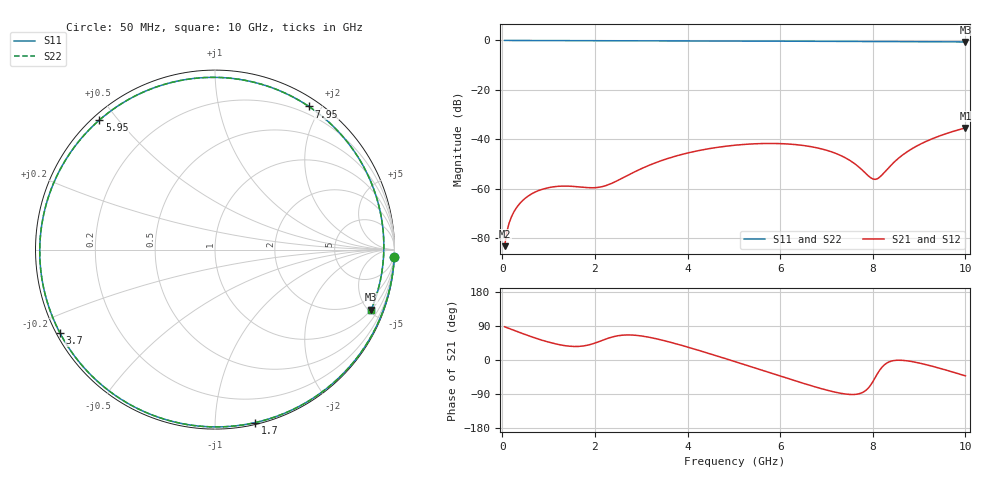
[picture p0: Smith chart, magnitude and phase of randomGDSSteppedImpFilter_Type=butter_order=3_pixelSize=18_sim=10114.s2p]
! freq	dB(S11)	phase(S11)	dB(S12)	phase(S12)
!  dB(S21)	phase(S21)	dB(S22)	phase(S22)
!S-par simulation data
#  GHz  S  DB  R 50
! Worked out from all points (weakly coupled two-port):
!   200 points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, 50 MHz to 10 GHz, reference 50 ohm
!   highest |S21| = -35.35 dB at 10 GHz (marker M1); lowest = -83.1 dB at 50 MHz (marker M2)
!   lowest |S11| = -0.6 dB at 10 GHz (marker M3), VSWR 28.75, Z = 50.3 - j260 ohm
!   |S11| at or under -10 dB: nowhere
!   |S22| runs from -0.6 to 0.0 dB; largest |S21 - S12| = 0
!   S11 on the Smith chart (normalised r, x): 50 MHz: 0, -48; 1.7 GHz: 0.01, -1.26; 3.7 GHz: 0.01, -0.25; 5.95 GHz: 0.02, +0.45; 7.95 GHz: 0.10, +1.85; 10 GHz: 1.01, -5.19
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0.05  -0.00 -2.4  -83.11 87.7  -83.11 87.7  -0.00 -2.4
0.15  -0.01 -7.2  -73.62 83.0  -73.62 83.0  -0.01 -7.2
0.25  -0.02 -11.9  -69.27 78.3  -69.27 78.3  -0.02 -11.9
0.55  -0.04 -25.9  -62.99 64.8  -62.99 64.8  -0.04 -25.9
1.05  -0.06 -48.8  -59.29 45.6  -59.29 45.6  -0.06 -48.8
1.7  -0.09 -76.9  -59.24 36.3  -59.24 36.3  -0.09 -76.9
1.75  -0.09 -79.0  -59.33 37.0  -59.33 37.0  -0.09 -79.0
2.15  -0.11 -95.1  -59.08 51.4  -59.08 51.4  -0.11 -95.1
2.5  -0.12 -108.7  -56.51 64.1  -56.51 64.1  -0.12 -108.7
3.4  -0.16 -141.3  -48.79 53.9  -48.79 53.9  -0.16 -141.3
3.7  -0.17 -151.7  -46.97 44.5  -46.97 44.5  -0.17 -151.7
4.4  -0.20 -175.4  -43.93 19.5  -43.93 19.5  -0.20 -175.4
5.05  -0.23 162.8  -42.28 -5.2  -42.28 -5.2  -0.24 162.8
5.95  -0.29 131.8  -41.65 -40.3  -41.65 -40.3  -0.29 131.8
6.7  -0.33 104.6  -43.03 -68.9  -43.03 -68.9  -0.33 104.6
7.4  -0.38 78.2  -47.33 -89.7  -47.33 -89.7  -0.38 78.2
7.95  -0.41 56.8  -55.40 -67.0  -55.40 -67.0  -0.41 56.8
8.1  -0.42 50.9  -55.88 -36.3  -55.88 -36.3  -0.42 50.9
8.35  -0.44 41.1  -51.26 -5.1  -51.26 -5.1  -0.44 41.1
9  -0.49 15.8  -42.16 -8.0  -42.16 -8.0  -0.49 15.8
9.5  -0.54 -3.0  -38.18 -23.7  -38.18 -23.7  -0.54 -3.0
10  -0.60 -21.1  -35.35 -41.9  -35.35 -41.9  -0.60 -21.1
